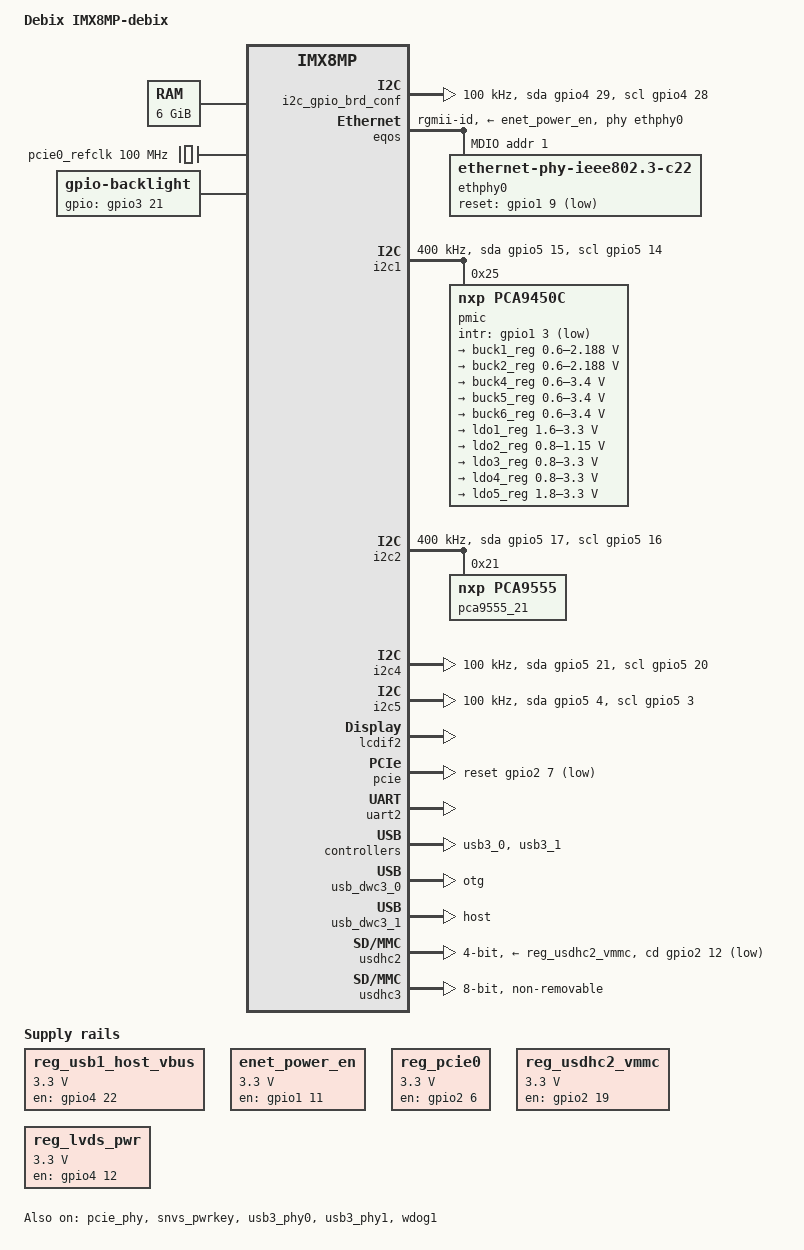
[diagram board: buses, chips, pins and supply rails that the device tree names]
// SPDX-License-Identifier: (GPL-2.0+ OR MIT)
/*
 * Copyright 2017 NXP
 * Copyright 2020 Technexion Ltd, Ray Chang <ray.chang@technexion.com>
 */

/dts-v1/;

#include <dt-bindings/phy/phy-imx8-pcie.h>
#include <dt-bindings/usb/pd.h>
#include "imx8mp.dtsi"

/ {
	model = "Debix IMX8MP-debix";
	compatible = "fsl,imx8mp-debix", "fsl,imx8mp";

	chosen {
		bootargs = "console=ttymxc1,115200 earlycon=ec_imx6q,0x30890000,115200";
		stdout-path = &uart2;
	};

	memory@40000000 {
		device_type = "memory";
		reg = <0x0 0x40000000 0 0xc0000000>,
		      <0x1 0x00000000 0 0xc0000000>;
	};

	pcie0_refclk: pcie0-refclk {
		compatible = "fixed-clock";
			#clock-cells = <0>;
			clock-frequency = <100000000>;
	};

	reg_usb1_host_vbus: regulator-usb1-vbus {
		compatible = "regulator-fixed";
		regulator-name = "usb1_host_vbus";
		pinctrl-names = "default";
		pinctrl-0 = <&pinctrl_usb1_vbus>;
		regulator-min-microvolt = <3300000>;
		regulator-max-microvolt = <3300000>;
		gpio = <&gpio4 22 GPIO_ACTIVE_HIGH>;
		enable-active-high;
		regulator-always-on;
	};

	enet_power_en: enet_power_en {
		pinctrl-names = "default";
		pinctrl-0 = <&pinctrl_enet_pwr>;
		compatible = "regulator-fixed";
		regulator-name = "enet_pwr";
		regulator-min-microvolt = <3300000>;
		regulator-max-microvolt = <3300000>;
		gpio = <&gpio1 11 GPIO_ACTIVE_HIGH>;
		enable-active-high;
		regulator-always-on;
	};

	reg_pcie0: regulator-pcie {
		compatible = "regulator-fixed";
		pinctrl-names = "default";
		pinctrl-0 = <&pinctrl_pcie0_reg>;
		regulator-name = "MPCIE_3V3";
		regulator-min-microvolt = <3300000>;
		regulator-max-microvolt = <3300000>;
		gpio = <&gpio2 6 GPIO_ACTIVE_HIGH>;
		enable-active-high;
		regulator-always-on;
	};

	reg_usdhc2_vmmc: regulator-usdhc2 {
		compatible = "regulator-fixed";
		pinctrl-names = "default";
		pinctrl-0 = <&pinctrl_reg_usdhc2_vmmc>;
		regulator-name = "VSD_3V3";
		regulator-min-microvolt = <3300000>;
		regulator-max-microvolt = <3300000>;
		gpio = <&gpio2 19 GPIO_ACTIVE_HIGH>;
		enable-active-high;
	};

	reg_lvds_pwr: regulator_lvdspwr {
		pinctrl-names = "default";
		pinctrl-0 = <&pinctrl_lvds0_pwr>;
		compatible = "regulator-fixed";
		regulator-name = "lvds0_vdden";
		regulator-min-microvolt = <3300000>;
		regulator-max-microvolt = <3300000>;
		gpio = <&gpio4 12 GPIO_ACTIVE_HIGH>;
		enable-active-high;
	};

	backlight: backlight-0 {
		compatible = "gpio-backlight";
		pinctrl-names = "default";
		pinctrl-0 = <&pinctrl_pwm2>;
		gpios = <&gpio3 21 GPIO_ACTIVE_HIGH>;
		default-on;
	};

	i2c_gpio_brd_conf: i2c@0 {
		compatible = "i2c-gpio";
		#address-cells = <1>;
		#size-cells = <0>;
		pinctrl-names = "default";
		pinctrl-0 = <&pinctrl_i2c_brd_conf>;
		gpios = <&gpio4 29 GPIO_ACTIVE_HIGH /* SDA */
			&gpio4 28 GPIO_ACTIVE_HIGH /* SCL */
		>;
		clock-frequency = <100000>;
		status = "okay";
	};
};

&eqos {
	pinctrl-names = "default";
	pinctrl-0 = <&pinctrl_eqos>;
	phy-mode = "rgmii-id";
	phy-handle = <&ethphy0>;
	phy-supply = <&enet_power_en>;
	status = "okay";

	mdio {
		compatible = "snps,dwmac-mdio";
		#address-cells = <1>;
		#size-cells = <0>;

		ethphy0: ethernet-phy@1 {
			compatible = "ethernet-phy-ieee802.3-c22";
			reg = <1>;
			reset-gpios = <&gpio1 9 GPIO_ACTIVE_LOW>;
			reset-assert-us = <35000>;
			reset-deassert-us = <75000>;
			eee-broken-1000t;
			realtek,clkout-disable;
		};
	};

};

&i2c1 {
	clock-frequency = <400000>;
	pinctrl-names = "default", "gpio";
	pinctrl-0 = <&pinctrl_i2c1>;
	pinctrl-1 = <&pinctrl_i2c1_gpio>;
	scl-gpios = <&gpio5 14 GPIO_ACTIVE_HIGH>;
	sda-gpios = <&gpio5 15 GPIO_ACTIVE_HIGH>;
	status = "okay";

	pmic: pca9450@25 {
		reg = <0x25>;
		compatible = "nxp,pca9450c";
		/* PMIC PCA9450 PMIC_nINT GPIO1_IO3 */
		pinctrl-0 = <&pinctrl_pmic>;
		gpio_intr = <&gpio1 3 GPIO_ACTIVE_LOW>;

		regulators {
			#address-cells = <1>;
			#size-cells = <0>;

			pca9450,pmic-buck2-uses-i2c-dvs;
			/* Run/Standby voltage */
			pca9450,pmic-buck2-dvs-voltage = <950000>, <850000>;

			buck1_reg: regulator@0 {
				reg = <0>;
				regulator-compatible = "buck1";
				regulator-min-microvolt = <600000>;
				regulator-max-microvolt = <2187500>;
				regulator-boot-on;
				regulator-always-on;
				regulator-ramp-delay = <3125>;
			};

			buck2_reg: regulator@1 {
				reg = <1>;
				regulator-compatible = "buck2";
				regulator-min-microvolt = <600000>;
				regulator-max-microvolt = <2187500>;
				regulator-boot-on;
				regulator-always-on;
				regulator-ramp-delay = <3125>;
			};

			buck4_reg: regulator@3 {
				reg = <3>;
				regulator-compatible = "buck4";
				regulator-min-microvolt = <600000>;
				regulator-max-microvolt = <3400000>;
				regulator-boot-on;
				regulator-always-on;
			};

			buck5_reg: regulator@4 {
				reg = <4>;
				regulator-compatible = "buck5";
				regulator-min-microvolt = <600000>;
				regulator-max-microvolt = <3400000>;
				regulator-boot-on;
				regulator-always-on;
			};

			buck6_reg: regulator@5 {
				reg = <5>;
				regulator-compatible = "buck6";
				regulator-min-microvolt = <600000>;
				regulator-max-microvolt = <3400000>;
				regulator-boot-on;
				regulator-always-on;
			};

			ldo1_reg: regulator@6 {
				reg = <6>;
				regulator-compatible = "ldo1";
				regulator-min-microvolt = <1600000>;
				regulator-max-microvolt = <3300000>;
				regulator-boot-on;
				regulator-always-on;
			};

			ldo2_reg: regulator@7 {
				reg = <7>;
				regulator-compatible = "ldo2";
				regulator-min-microvolt = <800000>;
				regulator-max-microvolt = <1150000>;
				regulator-boot-on;
				regulator-always-on;
			};

			ldo3_reg: regulator@8 {
				reg = <8>;
				regulator-compatible = "ldo3";
				regulator-min-microvolt = <800000>;
				regulator-max-microvolt = <3300000>;
				regulator-boot-on;
				regulator-always-on;
			};

			ldo4_reg: regulator@9 {
				reg = <9>;
				regulator-compatible = "ldo4";
				regulator-min-microvolt = <800000>;
				regulator-max-microvolt = <3300000>;
				regulator-boot-on;
				regulator-always-on;
			};

			ldo5_reg: regulator@10 {
				reg = <10>;
				regulator-compatible = "ldo5";
				regulator-min-microvolt = <1800000>;
				regulator-max-microvolt = <3300000>;
			};
		};
	};
};

&i2c2 {
	clock-frequency = <400000>;
	pinctrl-names = "default", "gpio";
	pinctrl-0 = <&pinctrl_i2c2>;
	pinctrl-1 = <&pinctrl_i2c2_gpio>;
	scl-gpios = <&gpio5 16 GPIO_ACTIVE_HIGH>;
	sda-gpios = <&gpio5 17 GPIO_ACTIVE_HIGH>;
	status = "okay";

	pca9555_21: pca9555@21 {
		compatible = "nxp,pca9555";
		status = "okay";
		reg =<0x21>;
		gpio-controller;
		#gpio-cells = <2>;

		csi0_pwn-hog {
			gpio-hog;
			gpios = <2 GPIO_ACTIVE_HIGH>;
			output-low;
			line-name = "INFO_TRIG_IN1";
		};
		csi1_pwn-hog {
			gpio-hog;
			gpios = <10 GPIO_ACTIVE_HIGH>;
			output-low;
			line-name = "INFO_TRIG_IN2";
		};
	};
};

&i2c4 {
	clock-frequency = <100000>;
	pinctrl-names = "default", "gpio";
	pinctrl-0 = <&pinctrl_i2c4>;
	pinctrl-1 = <&pinctrl_i2c4_gpio>;
	scl-gpios = <&gpio5 20 GPIO_ACTIVE_HIGH>;
	sda-gpios = <&gpio5 21 GPIO_ACTIVE_HIGH>;
	status = "okay";
};

&i2c5 {
	clock-frequency = <100000>;
	pinctrl-names = "default", "gpio";
	pinctrl-0 = <&pinctrl_i2c5>;
	pinctrl-1 = <&pinctrl_i2c5_gpio>;
	scl-gpios = <&gpio5 3 GPIO_ACTIVE_HIGH>;
	sda-gpios = <&gpio5 4 GPIO_ACTIVE_HIGH>;
	status = "okay";
};

&lcdif2 {
	status = "okay";
};


&media_blk_ctrl {
	power-domains = <&pgc_mediamix>,
			<&pgc_mipi_phy1>,
			<&pgc_mipi_phy1>,
			<&pgc_mediamix>,
			<&pgc_mediamix>,
			<&pgc_mipi_phy2>,
			<&pgc_mediamix>,
			<&pgc_mipi_phy2>;
	power-domain-names = "bus", "mipi-dsi1", "mipi-csi1",
					"lcdif1", "isi", "mipi-csi2",
					"lcdif2", "mipi-dsi2";
};

&pcie_phy {
	fsl,refclk-pad-mode = <IMX8_PCIE_REFCLK_PAD_INPUT>;
	clocks = <&pcie0_refclk>;
	clock-names = "ref";
	status = "okay";
};

&pcie {
	pinctrl-names = "default";
	pinctrl-0 = <&pinctrl_pcie0>;
	reset-gpio = <&gpio2 7 GPIO_ACTIVE_LOW>;
	clocks = <&clk IMX8MP_CLK_HSIO_ROOT>,
		 <&clk IMX8MP_CLK_PCIE_ROOT>,
		 <&clk IMX8MP_CLK_HSIO_AXI>;
	clock-names = "pcie", "pcie_aux", "pcie_bus";
	assigned-clocks = <&clk IMX8MP_CLK_PCIE_AUX>;
	assigned-clock-rates = <10000000>;
	assigned-clock-parents = <&clk IMX8MP_SYS_PLL2_50M>;
	vpcie-supply = <&reg_pcie0>;
	status = "okay";
};

&snvs_pwrkey {
	status = "okay";
};

&uart2 {
	/* console */
	pinctrl-names = "default";
	pinctrl-0 = <&pinctrl_uart2>;
	status = "okay";
};

&usb3_phy0 {
	status = "okay";
};

&usb3_0 {
	status = "okay";
};

&usb_dwc3_0 {
	dr_mode = "otg";
	hnp-disable;
	srp-disable;
	adp-disable;
	usb-role-switch;
	status = "okay";
};

&usb3_phy1 {
	status = "okay";
};

&usb3_1 {
	status = "okay";
};

&usb_dwc3_1 {
	dr_mode = "host";
	status = "okay";
};

&usdhc2 {
	assigned-clocks = <&clk IMX8MP_CLK_USDHC2>;
	assigned-clock-rates = <400000000>;
	pinctrl-names = "default", "state_100mhz", "state_200mhz";
	pinctrl-0 = <&pinctrl_usdhc2>, <&pinctrl_usdhc2_gpio>;
	pinctrl-1 = <&pinctrl_usdhc2_100mhz>, <&pinctrl_usdhc2_gpio>;
	pinctrl-2 = <&pinctrl_usdhc2_200mhz>, <&pinctrl_usdhc2_gpio>;
	cd-gpios = <&gpio2 12 GPIO_ACTIVE_LOW>;
	vmmc-supply = <&reg_usdhc2_vmmc>;
	bus-width = <4>;
	status = "okay";
};

&usdhc3 {
	assigned-clocks = <&clk IMX8MP_CLK_USDHC3>;
	assigned-clock-rates = <400000000>;
	pinctrl-names = "default", "state_100mhz", "state_200mhz";
	pinctrl-0 = <&pinctrl_usdhc3>;
	pinctrl-1 = <&pinctrl_usdhc3_100mhz>;
	pinctrl-2 = <&pinctrl_usdhc3_200mhz>;
	bus-width = <8>;
	non-removable;
	status = "okay";
};

&wdog1 {
	pinctrl-names = "default";
	pinctrl-0 = <&pinctrl_wdog>;
	fsl,ext-reset-output;
	status = "okay";
};

&iomuxc {
	pinctrl-names = "default";

	pinctrl_eqos: eqosgrp {
		fsl,pins = <
			MX8MP_IOMUXC_ENET_MDC__ENET_QOS_MDC	0x3
			MX8MP_IOMUXC_ENET_MDIO__ENET_QOS_MDIO	0x23
			MX8MP_IOMUXC_ENET_RD0__ENET_QOS_RGMII_RD0	0x91
			MX8MP_IOMUXC_ENET_RD1__ENET_QOS_RGMII_RD1	0x91
			MX8MP_IOMUXC_ENET_RD2__ENET_QOS_RGMII_RD2	0x91
			MX8MP_IOMUXC_ENET_RD3__ENET_QOS_RGMII_RD3	0x91
			MX8MP_IOMUXC_ENET_RXC__CCM_ENET_QOS_CLOCK_GENERATE_RX_CLK	0x91
			MX8MP_IOMUXC_ENET_RX_CTL__ENET_QOS_RGMII_RX_CTL	0x91
			MX8MP_IOMUXC_ENET_TD0__ENET_QOS_RGMII_TD0		0x1f
			MX8MP_IOMUXC_ENET_TD1__ENET_QOS_RGMII_TD1		0x1f
			MX8MP_IOMUXC_ENET_TD2__ENET_QOS_RGMII_TD2		0x1f
			MX8MP_IOMUXC_ENET_TD3__ENET_QOS_RGMII_TD3		0x1f
			MX8MP_IOMUXC_ENET_TX_CTL__ENET_QOS_RGMII_TX_CTL	0x1f
			MX8MP_IOMUXC_ENET_TXC__CCM_ENET_QOS_CLOCK_GENERATE_TX_CLK	0x1f
			MX8MP_IOMUXC_GPIO1_IO09__GPIO1_IO09		0x19
			MX8MP_IOMUXC_GPIO1_IO12__GPIO1_IO12		0x19
		>;
	};

	pinctrl_i2c1: i2c1grp {
		fsl,pins = <
			MX8MP_IOMUXC_I2C1_SCL__I2C1_SCL		0x400001c3
			MX8MP_IOMUXC_I2C1_SDA__I2C1_SDA		0x400001c3
		>;
	};

	pinctrl_i2c2: i2c2grp {
		fsl,pins = <
			MX8MP_IOMUXC_I2C2_SCL__I2C2_SCL			0x400001c3
			MX8MP_IOMUXC_I2C2_SDA__I2C2_SDA			0x400001c3
		>;
	};

	pinctrl_i2c4: i2c4grp {
		fsl,pins = <
			MX8MP_IOMUXC_I2C4_SCL__I2C4_SCL			0x400001a3
			MX8MP_IOMUXC_I2C4_SDA__I2C4_SDA			0x400001a3
		>;
	};

	pinctrl_i2c5: i2c5grp {
		fsl,pins = <
			MX8MP_IOMUXC_SPDIF_TX__I2C5_SCL			0x400001c3
			MX8MP_IOMUXC_SPDIF_RX__I2C5_SDA			0x400001c3
		>;
	};

	pinctrl_pcie0: pcie0grp {
		fsl,pins = <
			MX8MP_IOMUXC_I2C4_SCL__PCIE_CLKREQ_B	0x60 /* open drain, pull up */
			MX8MP_IOMUXC_SD1_DATA5__GPIO2_IO07	0x40
			MX8MP_IOMUXC_I2C4_SDA__GPIO5_IO21	0x1c4
		>;
	};

	pinctrl_pcie0_reg: pcie0reggrp {
		fsl,pins = <
			MX8MP_IOMUXC_SD1_DATA4__GPIO2_IO06	0x40
		>;
	};

	pinctrl_i2c1_gpio: i2c1grp-gpio {
		fsl,pins = <
			MX8MP_IOMUXC_I2C1_SCL__GPIO5_IO14        	0x1c3
			MX8MP_IOMUXC_I2C1_SDA__GPIO5_IO15        	0x1c3
		>;
	};

	pinctrl_i2c2_gpio: i2c2grp-gpio {
		fsl,pins = <
			MX8MP_IOMUXC_I2C2_SCL__GPIO5_IO16        	0x1c3
			MX8MP_IOMUXC_I2C2_SDA__GPIO5_IO17        	0x1c3
		>;
	};

	pinctrl_i2c4_gpio: i2c4grp-gpio {
		fsl,pins = <
			MX8MP_IOMUXC_I2C4_SCL__GPIO5_IO20        	0x1a3
			MX8MP_IOMUXC_I2C4_SDA__GPIO5_IO21        	0x1a3
		>;
	};

	pinctrl_i2c5_gpio: i2c5grp-gpio {
		fsl,pins = <
			MX8MP_IOMUXC_SPDIF_TX__GPIO5_IO03        	0x1c3
			MX8MP_IOMUXC_SPDIF_RX__GPIO5_IO04        	0x1c3
		>;
	};

	pinctrl_lvds0_pwr: lvds0_pwrgrp {
		fsl,pins = <
			MX8MP_IOMUXC_SAI1_TXD0__GPIO4_IO12	0x19 /* LVDS0_VDDEN */
		>;
	};

	pinctrl_lvds0_bl_pwr: lvds0_bl_pwrgrp {
		fsl,pins = <
			MX8MP_IOMUXC_SAI1_TXD2__GPIO4_IO14	0x19 /* LVDS0_BL_EN */
		>;
	};

	pinctrl_pwm2: pwm2grp {
		fsl,pins = <
			MX8MP_IOMUXC_SAI5_RXD0__GPIO3_IO21	0x116 /* LVDS0_BL_PWM */
		>;
	};

	pinctrl_pmic: pmicirq {
		fsl,pins = <
			MX8MP_IOMUXC_GPIO1_IO03__GPIO1_IO03	0x41
		>;
	};

	pinctrl_typec_mux: typec1muxgrp {
		fsl,pins = <
			MX8MP_IOMUXC_SAI1_RXC__GPIO4_IO01	0x16
		>;
	};

	pinctrl_reg_usdhc2_vmmc: regusdhc2vmmc {
		fsl,pins = <
			MX8MP_IOMUXC_SD2_RESET_B__GPIO2_IO19	0x41
		>;
	};

	pinctrl_uart2: uart2grp {
		fsl,pins = <
			MX8MP_IOMUXC_UART2_RXD__UART2_DCE_RX	0x140
			MX8MP_IOMUXC_UART2_TXD__UART2_DCE_TX	0x140
		>;
	};

	pinctrl_usb1_vbus: usb1grp {
		fsl,pins = <
			MX8MP_IOMUXC_SAI2_RXC__GPIO4_IO22	0x19
		>;
	};

	pinctrl_usdhc2: usdhc2grp {
		fsl,pins = <
			MX8MP_IOMUXC_SD2_CLK__USDHC2_CLK	0x190
			MX8MP_IOMUXC_SD2_CMD__USDHC2_CMD	0x1d0
			MX8MP_IOMUXC_SD2_DATA0__USDHC2_DATA0	0x1d0
			MX8MP_IOMUXC_SD2_DATA1__USDHC2_DATA1	0x1d0
			MX8MP_IOMUXC_SD2_DATA2__USDHC2_DATA2	0x1d0
			MX8MP_IOMUXC_SD2_DATA3__USDHC2_DATA3	0x1d0
			MX8MP_IOMUXC_GPIO1_IO04__USDHC2_VSELECT	0xc0
		>;
	};

	pinctrl_usdhc2_100mhz: usdhc2grp-100mhz {
		fsl,pins = <
			MX8MP_IOMUXC_SD2_CLK__USDHC2_CLK	0x194
			MX8MP_IOMUXC_SD2_CMD__USDHC2_CMD	0x1d4
			MX8MP_IOMUXC_SD2_DATA0__USDHC2_DATA0	0x1d4
			MX8MP_IOMUXC_SD2_DATA1__USDHC2_DATA1	0x1d4
			MX8MP_IOMUXC_SD2_DATA2__USDHC2_DATA2	0x1d4
			MX8MP_IOMUXC_SD2_DATA3__USDHC2_DATA3	0x1d4
			MX8MP_IOMUXC_GPIO1_IO04__USDHC2_VSELECT 0xc0
		>;
	};

	pinctrl_usdhc2_200mhz: usdhc2grp-200mhz {
		fsl,pins = <
			MX8MP_IOMUXC_SD2_CLK__USDHC2_CLK	0x196
			MX8MP_IOMUXC_SD2_CMD__USDHC2_CMD	0x1d6
			MX8MP_IOMUXC_SD2_DATA0__USDHC2_DATA0	0x1d6
			MX8MP_IOMUXC_SD2_DATA1__USDHC2_DATA1	0x1d6
			MX8MP_IOMUXC_SD2_DATA2__USDHC2_DATA2	0x1d6
			MX8MP_IOMUXC_SD2_DATA3__USDHC2_DATA3	0x1d6
			MX8MP_IOMUXC_GPIO1_IO04__USDHC2_VSELECT 0xc0
		>;
	};

	pinctrl_usdhc2_gpio: usdhc2grp-gpio {
		fsl,pins = <
			MX8MP_IOMUXC_SD2_CD_B__GPIO2_IO12	0x1c4
		>;
	};

	pinctrl_usdhc3: usdhc3grp {
		fsl,pins = <
			MX8MP_IOMUXC_NAND_WE_B__USDHC3_CLK	0x190
			MX8MP_IOMUXC_NAND_WP_B__USDHC3_CMD	0x1d0
			MX8MP_IOMUXC_NAND_DATA04__USDHC3_DATA0	0x1d0
			MX8MP_IOMUXC_NAND_DATA05__USDHC3_DATA1	0x1d0
			MX8MP_IOMUXC_NAND_DATA06__USDHC3_DATA2	0x1d0
			MX8MP_IOMUXC_NAND_DATA07__USDHC3_DATA3	0x1d0
			MX8MP_IOMUXC_NAND_RE_B__USDHC3_DATA4	0x1d0
			MX8MP_IOMUXC_NAND_CE2_B__USDHC3_DATA5	0x1d0
			MX8MP_IOMUXC_NAND_CE3_B__USDHC3_DATA6	0x1d0
			MX8MP_IOMUXC_NAND_CLE__USDHC3_DATA7	0x1d0
			MX8MP_IOMUXC_NAND_CE1_B__USDHC3_STROBE	0x190
		>;
	};

	pinctrl_usdhc3_100mhz: usdhc3grp-100mhz {
		fsl,pins = <
			MX8MP_IOMUXC_NAND_WE_B__USDHC3_CLK	0x194
			MX8MP_IOMUXC_NAND_WP_B__USDHC3_CMD	0x1d4
			MX8MP_IOMUXC_NAND_DATA04__USDHC3_DATA0	0x1d4
			MX8MP_IOMUXC_NAND_DATA05__USDHC3_DATA1	0x1d4
			MX8MP_IOMUXC_NAND_DATA06__USDHC3_DATA2	0x1d4
			MX8MP_IOMUXC_NAND_DATA07__USDHC3_DATA3	0x1d4
			MX8MP_IOMUXC_NAND_RE_B__USDHC3_DATA4	0x1d4
			MX8MP_IOMUXC_NAND_CE2_B__USDHC3_DATA5	0x1d4
			MX8MP_IOMUXC_NAND_CE3_B__USDHC3_DATA6	0x1d4
			MX8MP_IOMUXC_NAND_CLE__USDHC3_DATA7	0x1d4
			MX8MP_IOMUXC_NAND_CE1_B__USDHC3_STROBE	0x194
		>;
	};

	pinctrl_usdhc3_200mhz: usdhc3grp-200mhz {
		fsl,pins = <
			MX8MP_IOMUXC_NAND_WE_B__USDHC3_CLK	0x196
			MX8MP_IOMUXC_NAND_WP_B__USDHC3_CMD	0x1d6
			MX8MP_IOMUXC_NAND_DATA04__USDHC3_DATA0	0x1d6
			MX8MP_IOMUXC_NAND_DATA05__USDHC3_DATA1	0x1d6
			MX8MP_IOMUXC_NAND_DATA06__USDHC3_DATA2	0x1d6
			MX8MP_IOMUXC_NAND_DATA07__USDHC3_DATA3	0x1d6
			MX8MP_IOMUXC_NAND_RE_B__USDHC3_DATA4	0x1d6
			MX8MP_IOMUXC_NAND_CE2_B__USDHC3_DATA5	0x1d6
			MX8MP_IOMUXC_NAND_CE3_B__USDHC3_DATA6	0x1d6
			MX8MP_IOMUXC_NAND_CLE__USDHC3_DATA7	0x1d6
			MX8MP_IOMUXC_NAND_CE1_B__USDHC3_STROBE	0x196
		>;
	};

	pinctrl_wdog: wdoggrp {
		fsl,pins = <
			MX8MP_IOMUXC_GPIO1_IO02__WDOG1_WDOG_B	0xc6
		>;
	};

	pinctrl_enet_pwr: enetpwrgrp {
		fsl,pins = <
			MX8MP_IOMUXC_GPIO1_IO11__GPIO1_IO11		0x11
		>;
	};

	pinctrl_i2c_brd_conf: i2cbrdconfgrp {
		fsl,pins = <
			MX8MP_IOMUXC_SAI3_RXFS__GPIO4_IO28      0x1c3 /* BRD_CONF_SCL, bitbang */
			MX8MP_IOMUXC_SAI3_RXC__GPIO4_IO29       0x1c3 /* BRD_CONF_SDA, bitbang */
		>;
	};
};
